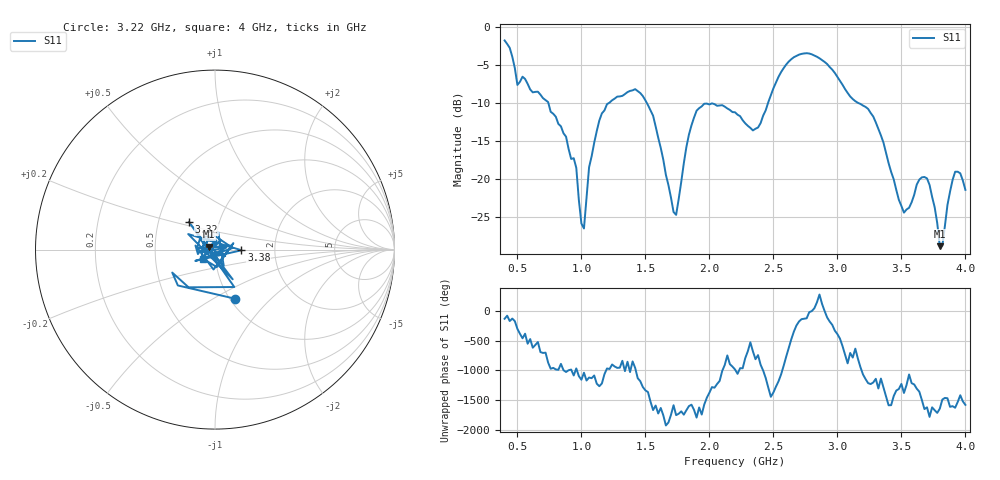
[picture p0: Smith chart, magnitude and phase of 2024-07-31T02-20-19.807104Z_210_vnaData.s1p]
!Created with skrf (http://scikit-rf.org).
# Hz S RI R 50.0
!freq ReS11 ImS11
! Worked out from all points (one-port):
!   181 points, 400 MHz to 4 GHz, reference 50 ohm
!   lowest |S11| = -28.9 dB at 3.8 GHz (marker M1), VSWR 1.07, Z = 46.9 + j1.57 ohm
!   |S11| at or under -10 dB: 741.2 MHz to 1.219 GHz (478 MHz wide, 48.8 % of centre); 1.51 GHz to 2.459 GHz (949.2 MHz wide, 47.8 % of centre); 3.158 GHz to end of sweep
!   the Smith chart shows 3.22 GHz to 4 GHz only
!   S11 on the Smith chart (normalised r, x): 3.22 GHz: 1.06, -0.64; 3.32 GHz: 0.71, +0.23; 3.38 GHz: 1.35, -0.01; 4 GHz: 0.87, -0.09
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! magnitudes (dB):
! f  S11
! 400 MHz  -1.8
! 500 MHz  -7.7
! 860 MHz  -14.0
! 960 MHz  -18.6
! 1 GHz  -25.9
! 1.02 GHz  -26.5
! 1.06 GHz  -18.5
! 1.14 GHz  -12.3
! 1.3 GHz  -9.2
! 1.5 GHz  -9.7
! 1.56 GHz  -11.7
! 1.72 GHz  -24.4
! 1.76 GHz  -22.7
! 1.9 GHz  -11.1
! 2.2 GHz  -11.3
! 2.38 GHz  -13.3
! 2.66 GHz  -4.0
! 2.86 GHz  -4.2
! 3.1 GHz  -9.2
! 3.22 GHz  -10.6
! 3.32 GHz  -13.4
! 3.38 GHz  -16.6
! 3.52 GHz  -24.5
! 3.56 GHz  -23.8
! 3.7 GHz  -20.0
! 3.8 GHz  -28.9
! 3.92 GHz  -19.1
! 4 GHz  -21.5
